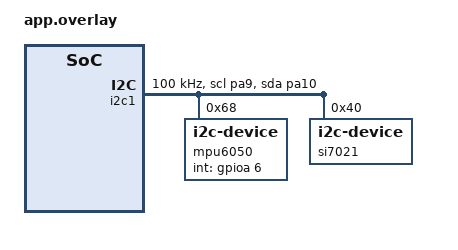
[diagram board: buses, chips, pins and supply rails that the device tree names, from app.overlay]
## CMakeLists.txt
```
cmake_minimum_required(VERSION 3.20.0)
find_package(Zephyr REQUIRED HINTS $ENV{ZEPHYR_BASE})
project(i2c_scan)
target_sources(app PRIVATE src/main.c)
```

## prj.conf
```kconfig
CONFIG_I2C=y
CONFIG_GPIO=y
CONFIG_PRINTK=y
CONFIG_CONSOLE=y
CONFIG_UART_CONSOLE=y
CONFIG_CBPRINTF_FP_SUPPORT=y
```

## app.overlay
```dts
/ {
    aliases {
        i2c-bus = &i2c1;
    };
};

&i2c1 {
    status = "okay";
    pinctrl-0 = <&i2c1_scl_pa9 &i2c1_sda_pa10>;
    pinctrl-names = "default";
    clock-frequency = <I2C_BITRATE_STANDARD>; /* 100 kHz */

    /* MPU6050 Motion Sensor Node */
    mpu6050: mpu6050@68 {
        compatible = "i2c-device";
        reg = <0x68>;
        status = "okay";
        int-gpios = <&gpioa 6 GPIO_ACTIVE_HIGH>;
    };

    /* Si7021 Humidity & Temp Sensor Node */
    si7021: si7021@40 {
        compatible = "i2c-device";
        reg = <0x40>;
        status = "okay";
    };
};
```

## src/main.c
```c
#include <zephyr/kernel.h>
#include <zephyr/device.h>
#include <zephyr/drivers/i2c.h>
#include <zephyr/sys/printk.h>

#define SI7021_I2C_SLAVEADDR 0x40
#define SI7021_MEASURE_TEMP 0xE3
#define SI7021_MEASURE_RH 0xE5

#define MPU6050_I2C_SLAVEADDR 0x68
#define MPU6050_REG_PWR_MGMT_1 0x6B
#define MPU6050_REG_ACCEL_XOUT_H 0x3B 

#define I2C_NODE DT_ALIAS(i2c_bus)

int si7021_read_temperature(const struct device *i2c_dev, float *temperature) {
    uint8_t cmd = SI7021_MEASURE_TEMP;
    uint8_t data[2];

    if (i2c_write(i2c_dev, &cmd, 1, SI7021_I2C_SLAVEADDR) != 0) {
        printk("Failed to write temperature command\n");
        return -1;
    }

    k_msleep(20); 
    
    if (i2c_read(i2c_dev, data, 2, SI7021_I2C_SLAVEADDR) != 0) {
        printk("Failed to read temperature data\n");
        return -1; 
    }

    int16_t temp_raw = (data[0] << 8) | data[1];
    *temperature = (float)temp_raw / 65536.0 * 175.72 - 46.85;

    return 0; 
}

int si7021_read_humidity(const struct device *i2c_dev, float *humidity) {
    uint8_t cmd = SI7021_MEASURE_RH;
    uint8_t data[2];

    if (i2c_write(i2c_dev, &cmd, 1, SI7021_I2C_SLAVEADDR) != 0) {
        printk("Failed to write humidity command\n");
        return -1;
    }

    k_msleep(25);

    if (i2c_read(i2c_dev, data, 2, SI7021_I2C_SLAVEADDR) != 0) {
        printk("Failed to read humidity data\n");
        return -1;
    }

    uint16_t rh_code = (data[0] << 8) | data[1];
    *humidity = ((125.0f * rh_code) / 65536.0f) - 6.0f;

    return 0;
}

int mpu6050_init(const struct device *i2c_dev) {
    uint8_t data[2] = {MPU6050_REG_PWR_MGMT_1, 0x00};

    if (i2c_write(i2c_dev, data, 2, MPU6050_I2C_SLAVEADDR) != 0) {
        printk("Failed to wake up MPU6050\n");
        return -1;
    }
    k_msleep(50);
    return 0;
}

int mpu6050_read_accel(const struct device *i2c_dev, int16_t *accelx, int16_t *accely, int16_t *accelz) {
    uint8_t reg = MPU6050_REG_ACCEL_XOUT_H;
    uint8_t data[6];

    if (i2c_write(i2c_dev, &reg, 1, MPU6050_I2C_SLAVEADDR) != 0) {
        printk("Failed to request accelerometer data\n");
        return -1;
    }

    k_msleep(10);

    if (i2c_read(i2c_dev, data, 6, MPU6050_I2C_SLAVEADDR) != 0) {
        printk("Failed to read accelerometer data\n");
        return -1;
    }

    *accelx = (data[0] << 8) | data[1];
    *accely = (data[2] << 8) | data[3];
    *accelz = (data[4] << 8) | data[5];

    return 0;

}

int main(void)
{
    const struct device *bus = DEVICE_DT_GET(I2C_NODE);

    if (!device_is_ready(bus)) {
        printk("I2C bus not ready\n");
        return 0;
    }

    mpu6050_init(bus);

    while (1) {
        int16_t accelx, accely, accelz;
        float temperature, humidity;

        if (mpu6050_read_accel(bus, &accelx, &accely, &accelz) == 0) {
            printk("Accelerometer: X=%d, Y=%d, Z=%d\n", accelx, accely, accelz);
        } else {
            printk("Failed to read accelerometer data\n");
        }

        if (si7021_read_temperature(bus, &temperature) == 0) {
            printk("Temperature: %.2f C\n", temperature);
        } else {
            printk("Failed to read temperature data\n");
        }

        if (si7021_read_humidity(bus, &humidity) == 0) {
            printk("Humidity: %.2f %%\n", humidity);
        } else {
            printk("Failed to read humidity data\n");
        }

        k_msleep(2000);
    }
    return 0;
}
```
